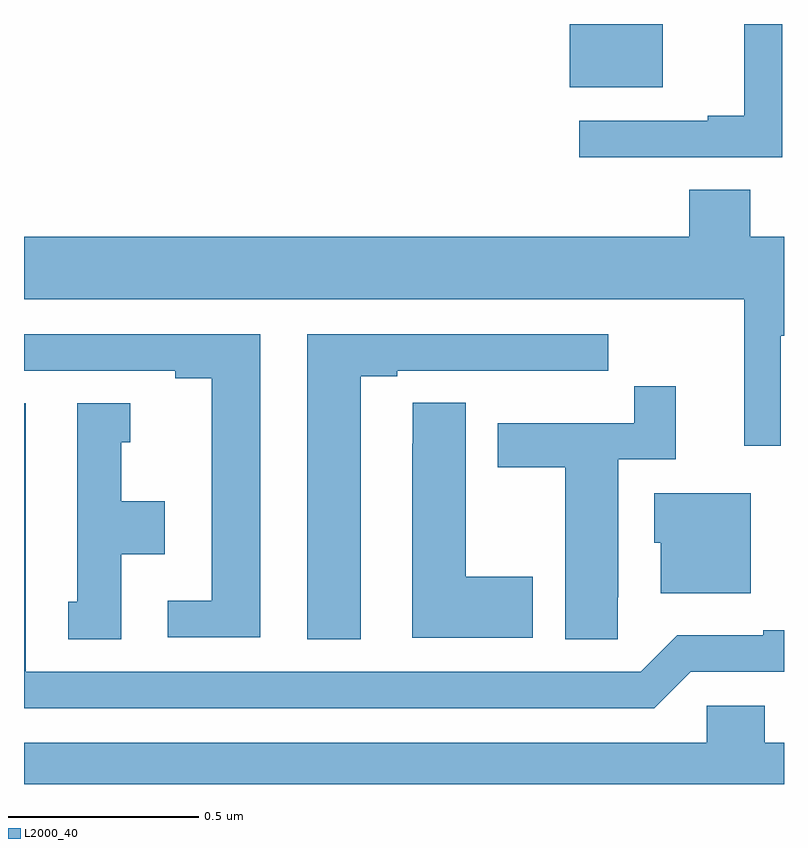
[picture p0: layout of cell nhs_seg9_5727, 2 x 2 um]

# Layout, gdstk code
import gdstk
lib = gdstk.Library(unit=1e-6, precision=1e-09)
def R(c, l, rs):  # rectangles x0, y0, x1, y1
    for r in rs: c.add(gdstk.rectangle(r[:2], r[2:], *l))
def P(c, l, *ps):  # polygons
    for p in ps: c.add(gdstk.Polygon(p, *l))
L2000_40 = (2000, 40)

nhs_seg9_5727 = lib.new_cell('nhs_seg9_5727')
R(nhs_seg9_5727, L2000_40, [(184.436,1174.334,184.681,1174.5)])
P(nhs_seg9_5727, L2000_40, [(184.995,1174.5),(184.895,1174.5),(184.895,1174.258),(184.799,1174.258),(184.799,1174.245),(184.461,1174.245),(184.461,1174.149),(184.995,1174.149)],
  [(184.992,1173.68),(185,1173.68),(185,1173.94),(184.911,1173.94),(184.911,1174.064),(184.751,1174.064),(184.751,1173.94),(183,1173.94),(183,1173.776),(184.895,1173.776),(184.895,1173.39),(184.992,1173.39)],
  [(183.886,1173.573),(183.982,1173.573),(183.982,1173.588),(184.258,1173.588),(184.258,1173.587),(184.424,1173.587),(184.424,1173.588),(184.537,1173.588),(184.537,1173.684),(183.746,1173.684),(183.746,1172.881),(183.886,1172.881)],
  [(183.622,1173.684),(183,1173.684),(183,1173.588),(183.398,1173.588),(183.398,1173.568),(183.494,1173.568),(183.494,1172.982),(183.378,1172.982),(183.378,1172.886),(183.622,1172.886)],
  [(184.563,1172.992),(184.564,1172.992),(184.564,1173.354),(184.715,1173.354),(184.715,1173.547),(184.606,1173.547),(184.606,1173.45),(184.247,1173.45),(184.247,1173.334),(184.424,1173.334),(184.424,1172.881),(184.563,1172.881)],
  [(184.339,1173.045),(184.162,1173.045),(184.162,1173.503),(184.023,1173.503),(184.023,1173.395),(184.022,1173.395),(184.022,1172.885),(184.339,1172.885)],
  [(183.256,1173.104),(183.37,1173.104),(183.37,1173.244),(183.256,1173.244),(183.256,1173.399),(183.28,1173.399),(183.28,1173.502),(183.14,1173.502),(183.14,1172.979),(183.116,1172.979),(183.116,1172.881),(183.256,1172.881)],
  [(184.755,1172.796),(185,1172.796),(185,1172.905),(184.946,1172.905),(184.946,1172.892),(184.719,1172.892),(184.623,1172.796),(183.004,1172.796),(183.004,1173.502),(183,1173.502),(183,1172.7),(184.659,1172.7)],
  [(184.912,1173.265),(184.658,1173.265),(184.658,1173.135),(184.676,1173.135),(184.676,1173.002),(184.912,1173.002)],
  [(185,1172.608),(184.949,1172.608),(184.949,1172.706),(184.797,1172.706),(184.797,1172.608),(183,1172.608),(183,1172.5),(185,1172.5)])

lib.write_gds('nhs_seg9_5727.gds')
